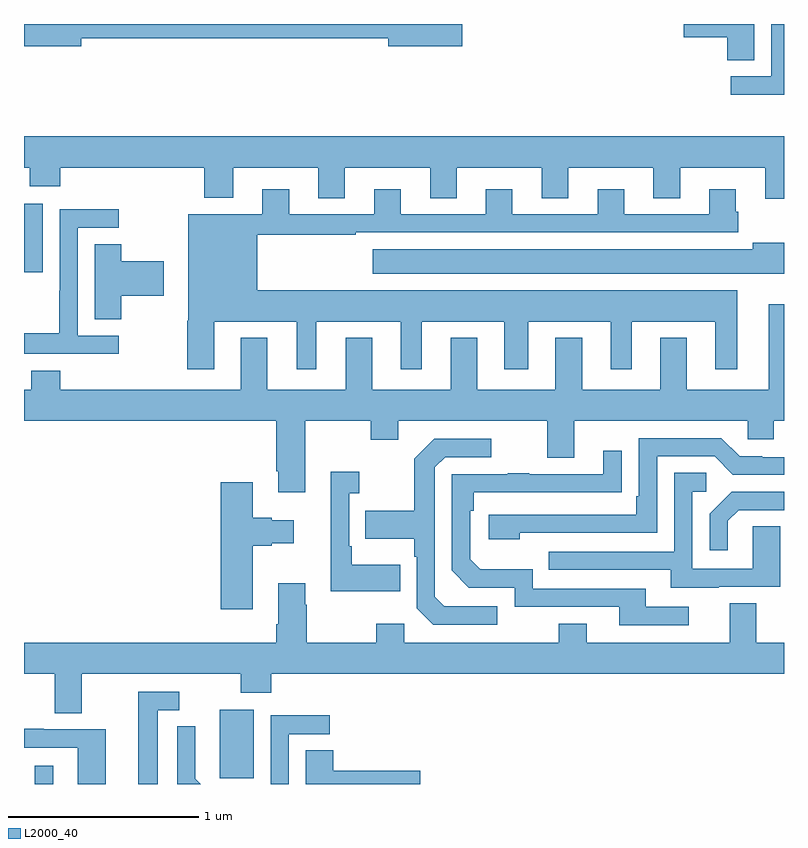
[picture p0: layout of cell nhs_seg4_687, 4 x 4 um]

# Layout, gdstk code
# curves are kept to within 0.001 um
import gdstk
lib = gdstk.Library(unit=1e-6, precision=1e-09)
def R(c, l, rs):  # rectangles x0, y0, x1, y1
    for r in rs: c.add(gdstk.rectangle(r[:2], r[2:], *l))
def P(c, l, *ps):  # polygons
    for p in ps: c.add(gdstk.Polygon(p, *l))
L2000_40 = (2000, 40)

nhs_seg4_687 = lib.new_cell('nhs_seg4_687')
R(nhs_seg4_687, L2000_40, [(145.056,802.9,145.153,802.996), (146.03,802.929,146.209,803.29), (145,805.593,145.099,805.954)])
P(nhs_seg4_687, L2000_40, [(149,806.9),(148.932,806.9),(148.932,806.625),(148.719,806.625),(148.719,806.527),(149,806.527)],
  [(148.843,806.9),(148.472,806.9),(148.472,806.831),(148.7,806.831),(148.7,806.71),(148.843,806.71)],
  [(145.3,806.824),(146.918,806.824),(146.918,806.782),(147.307,806.782),(147.307,806.9),(145,806.9),(145,806.782),(145.3,806.782)],
  [(149,806.308),(145,806.308),(145,806.144),(145.03,806.144),(145.03,806.045),(145.19,806.045),(145.19,806.144),(145.949,806.144),(145.949,805.985),(146.101,805.985),(146.101,806.144),(146.549,806.144),(146.549,805.984),(146.689,805.984),(146.689,806.144),(147.137,806.144),(147.137,805.984),(147.277,805.984),(147.277,806.144),(147.725,806.144),(147.725,805.984),(147.865,805.984),(147.865,806.144),(148.313,806.144),(148.313,805.984),(148.453,805.984),(148.453,806.144),(148.901,806.144),(148.901,805.98),(149,805.98)],
  [(146.002,805.334),(146.435,805.334),(146.435,805.083),(146.539,805.083),(146.539,805.334),(146.984,805.334),(146.984,805.083),(147.094,805.083),(147.094,805.334),(147.527,805.334),(147.527,805.083),(147.655,805.083),(147.655,805.334),(148.088,805.334),(148.088,805.083),(148.198,805.083),(148.198,805.334),(148.637,805.334),(148.637,805.083),(148.753,805.083),(148.753,805.498),(146.227,805.498),(146.227,805.791),(146.747,805.791),(146.747,805.803),(148.76,805.803),(148.76,805.911),(148.747,805.911),(148.747,806.029),(148.607,806.029),(148.607,805.899),(148.159,805.899),(148.159,806.029),(148.019,806.029),(148.019,805.899),(147.571,805.899),(147.571,806.029),(147.431,806.029),(147.431,805.899),(146.983,805.899),(146.983,806.029),(146.843,806.029),(146.843,805.899),(146.395,805.899),(146.395,806.029),(146.255,806.029),(146.255,805.9),(145.865,805.9),(145.865,805.338),(145.858,805.338),(145.858,805.083),(146.002,805.083)],
  [(145.498,805.26),(145.284,805.26),(145.284,805.827),(145.498,805.827),(145.498,805.926),(145.188,805.926),(145.188,805.496),(145.186,805.496),(145.186,805.273),(145,805.273),(145,805.164),(145.498,805.164)],
  [(149,805.75),(148.835,805.75),(148.835,805.714),(146.835,805.714),(146.835,805.586),(149,805.586)],
  [(145.512,805.469),(145.735,805.469),(145.735,805.652),(145.512,805.652),(145.512,805.742),(145.373,805.742),(145.373,805.345),(145.512,805.345)],
  [(146.479,804.812),(146.824,804.812),(146.824,804.713),(146.971,804.713),(146.971,804.812),(147.755,804.812),(147.755,804.618),(147.895,804.618),(147.895,804.812),(148.809,804.812),(148.809,804.714),(148.947,804.714),(148.947,804.812),(149,804.812),(149,805.426),(148.919,805.426),(148.919,804.976),(148.489,804.976),(148.489,805.249),(148.349,805.249),(148.349,804.976),(147.937,804.976),(147.937,805.249),(147.797,805.249),(147.797,804.976),(147.385,804.976),(147.385,805.249),(147.245,805.249),(147.245,804.976),(146.833,804.976),(146.833,805.249),(146.693,805.249),(146.693,804.976),(146.281,804.976),(146.281,805.249),(146.141,805.249),(146.141,804.976),(145.19,804.976),(145.19,805.075),(145.037,805.075),(145.037,804.976),(145,804.976),(145,804.812),(146.327,804.812),(146.327,804.547),(146.339,804.547),(146.339,804.435),(146.479,804.435)],
  [(147.608,804.222),(148.332,804.222),(148.332,804.624),(148.635,804.624),(148.731,804.528),(149,804.528),(149,804.621),(148.886,804.621),(148.886,804.624),(148.767,804.624),(148.671,804.72),(148.236,804.72),(148.236,804.415),(148.223,804.415),(148.223,804.318),(147.447,804.318),(147.447,804.188),(147.608,804.188)],
  [(147.49,803.835),(147.213,803.835),(147.162,803.886),(147.162,804.567),(147.216,804.621),(147.46,804.621),(147.46,804.717),(147.159,804.717),(147.054,804.611),(147.054,804.339),(146.797,804.339),(146.797,804.191),(147.054,804.191),(147.054,804.095),(147.066,804.095),(147.066,803.826),(147.153,803.739),(147.49,803.739)],
  [(148.498,803.832),(148.273,803.832),(148.273,803.928),(147.678,803.928),(147.678,804.031),(147.401,804.031),(147.348,804.084),(147.348,804.338),(147.368,804.338),(147.368,804.435),(148.145,804.436),(148.145,804.655),(148.049,804.655),(148.049,804.531),(147.659,804.531),(147.659,804.536),(147.547,804.536),(147.547,804.531),(147.252,804.531),(147.252,804.024),(147.342,803.934),(147.582,803.934),(147.582,803.832),(148.133,803.832),(148.133,803.736),(148.498,803.736)],
  [(146.981,804.055),(146.725,804.055),(146.725,804.151),(146.712,804.151),(146.712,804.431),(146.764,804.431),(146.764,804.544),(146.615,804.544),(146.615,803.915),(146.981,803.915)],
  [(148.657,803.937),(148.981,803.937),(148.981,804.257),(148.836,804.257),(148.836,804.033),(148.518,804.033),(148.518,804.438),(148.591,804.438),(148.591,804.539),(148.422,804.539),(148.422,804.123),(147.763,804.123),(147.763,804.027),(148.403,804.027),(148.403,803.933),(148.657,803.933)],
  [(146.203,804.155),(146.303,804.155),(146.303,804.167),(146.419,804.167),(146.419,804.289),(146.303,804.289),(146.303,804.302),(146.203,804.302),(146.203,804.487),(146.036,804.487),(146.036,803.82),(146.203,803.82)],
  [(148.705,804.285),(148.762,804.342),(149,804.342),(149,804.438),(148.724,804.438),(148.608,804.322),(148.608,804.129),(148.705,804.129)],
  [(149,803.644),(148.855,803.644),(148.855,803.852),(148.715,803.852),(148.715,803.644),(147.961,803.644),(147.961,803.743),(147.814,803.743),(147.814,803.644),(147,803.644),(147,803.743),(146.854,803.743),(146.854,803.644),(146.487,803.644),(146.487,803.843),(146.479,803.843),(146.479,803.956),(146.339,803.956),(146.339,803.74),(146.327,803.74),(146.327,803.644),(145,803.644),(145,803.48),(145.163,803.48),(145.163,803.272),(145.303,803.272),(145.303,803.48),(146.14,803.48),(146.14,803.381),(146.3,803.381),(146.3,803.48),(149,803.48)],
  [(145.705,803.289),(145.816,803.289),(145.816,803.385),(145.601,803.385),(145.601,802.9),(145.705,802.9)],
  [(146.394,803.163),(146.608,803.163),(146.608,803.262),(146.298,803.262),(146.298,802.9),(146.394,802.9)],
  [(145.901,802.928),(145.901,803.05),(145.902,803.05),(145.902,803.204),(145.806,803.204),(145.806,802.9),(145.929,802.9)],
  [(145.429,803.187),(145.105,803.187),(145.105,803.191),(145,803.191),(145,803.091),(145.284,803.091),(145.284,802.9),(145.429,802.9)],
  [(147.085,802.97),(146.627,802.97),(146.627,803.078),(146.483,803.078),(146.483,802.9),(147.085,802.9)])

lib.write_gds('nhs_seg4_687.gds')
